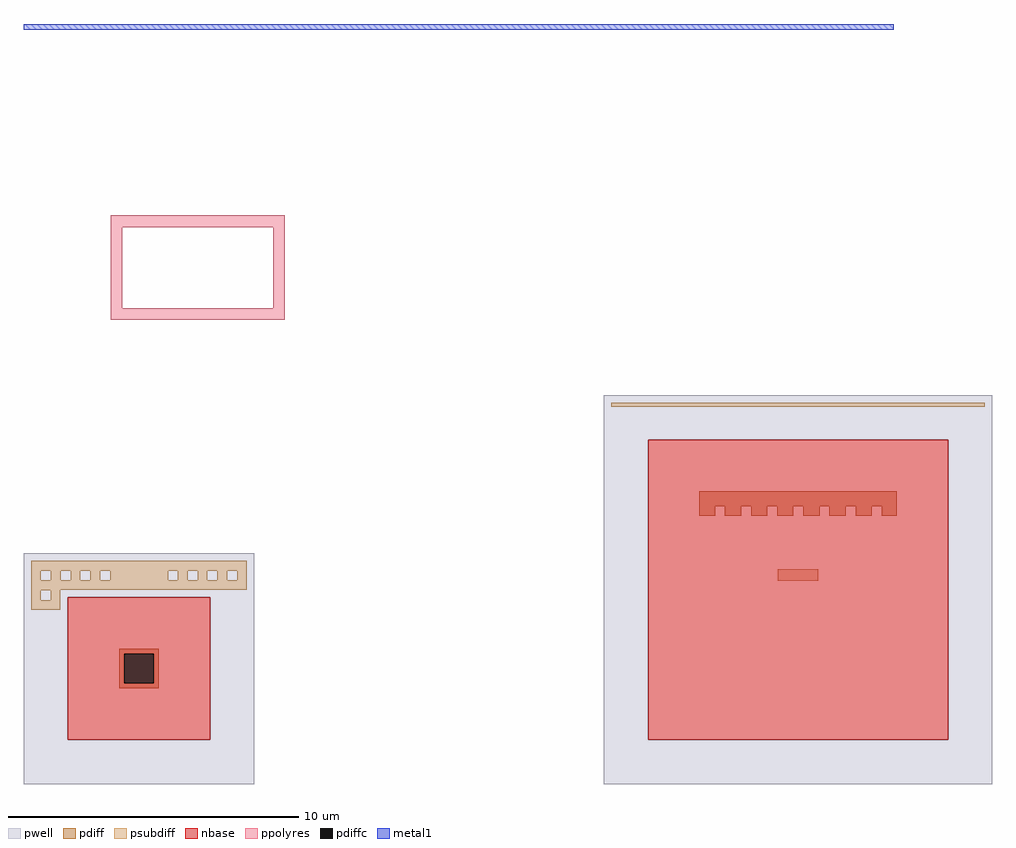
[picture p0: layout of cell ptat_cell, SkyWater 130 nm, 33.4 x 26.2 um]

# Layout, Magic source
magic
tech sky130A
<< pwell >>
rect 2000 1187 3340 1340
rect 0 643 796 796
rect 0 153 153 643
rect 643 153 796 643
rect 0 0 796 153
rect 2000 153 2153 1187
rect 3187 153 3340 1187
rect 2000 0 3340 153
<< nbase >>
rect 153 153 643 643
rect 2153 153 3187 1187
<< pdiff >>
rect 2330 958 3010 1010
rect 2330 924 2384 958
rect 2418 924 2474 958
rect 2508 924 2564 958
rect 2598 924 2654 958
rect 2688 924 2744 958
rect 2778 924 2834 958
rect 2868 924 2924 958
rect 2958 924 3010 958
rect 330 449 466 466
rect 330 347 347 449
rect 449 347 466 449
rect 330 330 466 347
<< pdiffc >>
rect 347 347 449 449
<< psubdiff >>
rect 2026 1300 3314 1314
rect 26 736 770 770
rect 26 702 60 736
rect 94 702 128 736
rect 162 702 196 736
rect 230 702 264 736
rect 298 702 498 736
rect 532 702 566 736
rect 600 702 634 736
rect 668 702 702 736
rect 736 702 770 736
rect 26 669 770 702
rect 2600 700 2740 740
rect 26 668 127 669
rect 26 634 60 668
rect 94 634 127 668
rect 26 600 127 634
<< ppolyres >>
rect 300 1920 900 1960
rect 300 1640 340 1920
rect 860 1640 900 1920
rect 300 1600 900 1640
<< metal1 >>
rect 0 2600 3000 2620
<< end >>
